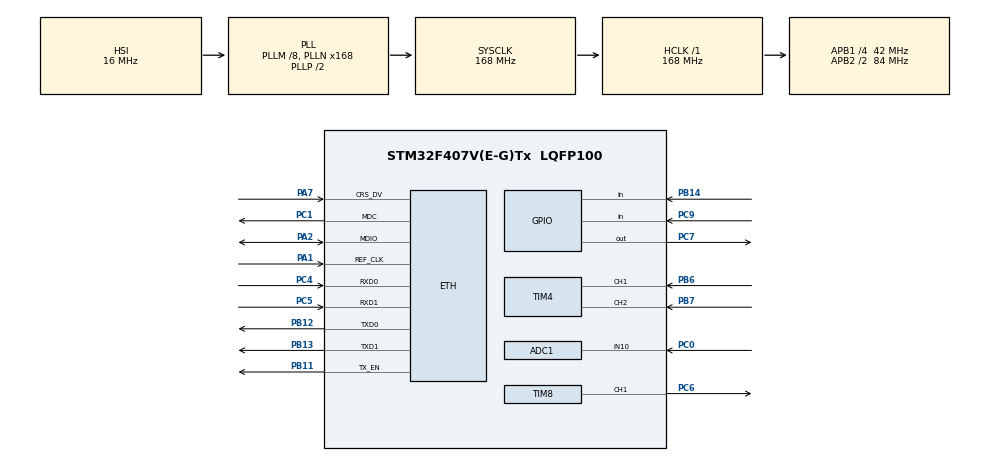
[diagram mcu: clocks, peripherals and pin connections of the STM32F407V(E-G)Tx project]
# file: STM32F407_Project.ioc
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ADC1.Channel-0\#ChannelRegularConversion=ADC_CHANNEL_10
ADC1.NbrOfConversionFlag=1
ADC1.Rank-0\#ChannelRegularConversion=1
ADC1.SamplingTime-0\#ChannelRegularConversion=ADC_SAMPLETIME_3CYCLES
ADC1.master=1
ETH.MediaInterface=HAL_ETH_RMII_MODE
LWIP.Version=v2.1.2_Cube
Mcu.Family=STM32F4
Mcu.Name=STM32F407V(E-G)Tx
Mcu.Package=LQFP100
NVIC.ETH_IRQn=true\:0\:0\:false\:false\:true\:true\:true\:true
NVIC.PriorityGroup=NVIC_PRIORITYGROUP_4
PA0-WKUP.Signal=S_TIM2_CH1_ETR
PA1.Mode=RMII
PA1.Signal=ETH_REF_CLK
PA13.Mode=Serial_Wire
PA13.Signal=SYS_JTMS-SWDIO
PA14.Mode=Serial_Wire
PA14.Signal=SYS_JTCK-SWCLK
PA2.Mode=RMII
PA2.Signal=ETH_MDIO
PA7.Mode=RMII
PA7.Signal=ETH_CRS_DV
PB11.Mode=RMII
PB11.Signal=ETH_TX_EN
PB12.Mode=RMII
PB12.Signal=ETH_TXD0
PB13.Mode=RMII
PB13.Signal=ETH_TXD1
PB14.Signal=GPIO_Input
PB3.Signal=SYS_JTDO-SWO
PB6.Signal=S_TIM4_CH1
PB7.Signal=S_TIM4_CH2
PB8.Signal=S_TIM4_CH3
PC0.Signal=ADCx_IN10
PC1.Mode=RMII
PC1.Signal=ETH_MDC
PC4.Mode=RMII
PC4.Signal=ETH_RXD0
PC5.Mode=RMII
PC5.Signal=ETH_RXD1
PC6.Signal=S_TIM8_CH1
PC7.Signal=GPIO_Output
PC9.Signal=GPIO_Input
PH0-OSC_IN.Mode=HSE-External-Oscillator
PH0-OSC_IN.Signal=RCC_OSC_IN
PH1-OSC_OUT.Mode=HSE-External-Oscillator
PH1-OSC_OUT.Signal=RCC_OSC_OUT
ProjectManager.HeapSize=0x200
ProjectManager.StackSize=0x400
ProjectManager.TargetToolchain=STM32CubeIDE
RCC.48MHZClocksFreq_Value=84000000
RCC.AHBFreq_Value=168000000
RCC.APB1CLKDivider=RCC_HCLK_DIV4
RCC.APB1Freq_Value=42000000
RCC.APB1TimFreq_Value=84000000
RCC.APB2CLKDivider=RCC_HCLK_DIV2
RCC.APB2Freq_Value=84000000
RCC.APB2TimFreq_Value=168000000
RCC.CortexFreq_Value=168000000
RCC.HCLKFreq_Value=168000000
RCC.HSE_VALUE=25000000
RCC.HSI_VALUE=16000000
RCC.LSE_VALUE=32768
RCC.PLLM=8
RCC.PLLN=168
RCC.SYSCLKFreq_VALUE=168000000
RCC.SYSCLKSource=RCC_SYSCLKSOURCE_PLLCLK
RCC.VCOOutputFreq_Value=336000000
SH.ADCx_IN10.0=ADC1_IN10,IN10
SH.S_TIM2_CH1_ETR.0=TIM2_CH1
SH.S_TIM4_CH1.0=TIM4_CH1,Encoder_Interface
SH.S_TIM4_CH2.0=TIM4_CH2,Encoder_Interface
SH.S_TIM4_CH3.0=TIM4_CH3
SH.S_TIM8_CH1.0=TIM8_CH1,PWM Generation1 CH1
TIM8.Channel-PWM\ Generation1\ CH1=TIM_CHANNEL_1
VP_LWIP_VS_Enabled.Mode=Enabled
board=custom

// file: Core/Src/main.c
/* USER CODE BEGIN Header */
/**
  ******************************************************************************
  * @file           : main.c
  * @brief          : Main program body
  ******************************************************************************
  * @attention
  *
  * Copyright (c) 2025 STMicroelectronics.
  * All rights reserved.
  *
  * This software is licensed under terms that can be found in the LICENSE file
  * in the root directory of this software component.
  * If no LICENSE file comes with this software, it is provided AS-IS.
  *
  ******************************************************************************
  */
/* USER CODE END Header */
#include "main.h"
#include "lwip.h"

/* USER CODE BEGIN Includes */

#include "lwip/tcp.h"
#include <stdio.h>  // sprintf 쓰기 위해 필요
#include <string.h> // strlen 쓰기 위해 필요

/* USER CODE END Includes */

ADC_HandleTypeDef hadc1;

TIM_HandleTypeDef htim4;
TIM_HandleTypeDef htim8;

/* USER CODE BEGIN PV */
// 모터 속도 (0 ~ 1000이라 가정)
int target_speed = 0;

// 엔코더 값 (위치)
uint32_t encoder_count = 0;

/* USER CODE END PV */

void SystemClock_Config(void);
static void MX_GPIO_Init(void);
static void MX_ADC1_Init(void);
static void MX_TIM4_Init(void);
static void MX_TIM8_Init(void);

/* USER CODE BEGIN 0 */
struct tcp_pcb *my_server_pcb; // 서버 컨트롤 블록

// [3] 데이터 받기 및 응답 콜백 함수 (업그레이드 버전)
err_t tcp_server_recv(void *arg, struct tcp_pcb *tpcb, struct pbuf *p, err_t err)
{
    if (p == NULL) // 연결 끊김
    {
        tcp_close(tpcb);
        return ERR_OK;
    }

    // 1. 데이터 수신 처리
    char *data = (char *)p->payload;

    // [명령어 처리 로직]
    if(data[0] == 'A')      // 'A': 속도 500
    {
        target_speed = 500;
    }
    else if(data[0] == 'B') // 'B': 정지
    {
        target_speed = 0;
    }
    else if(data[0] == 'Q') // 'Q': 상태 물어보기 (Query)
    {
        char send_buffer[50]; // 보낼 문자열 저장소

        // 현재 엔코더 값과 전류 값을 문자열로 변환 (예: "1200,350\n")
        // encoder_count: 현재 위치
        // HAL_ADC_GetValue(&hadc1): 현재 전류치(실시간 측정 필요하면 여기서 호출)
        sprintf(send_buffer, "%lu,%lu\n", encoder_count, HAL_ADC_GetValue(&hadc1));

        // PC로 데이터 전송 (Write)
        // tcp_write(연결객체, 데이터, 길이, 옵션)
        tcp_write(tpcb, send_buffer, strlen(send_buffer), TCP_WRITE_FLAG_COPY);

        // 즉시 전송 (Flush)
        tcp_output(tpcb);
    }

    // 2. 수신 확인 신호 (ACK)
    tcp_recved(tpcb, p->tot_len);

    // 3. 메모리 해제
    pbuf_free(p);

    return ERR_OK;
}

// [2] 접속 수락 콜백 함수 (PC가 접속을 시도하면 실행됨)
err_t tcp_server_accept(void *arg, struct tcp_pcb *newpcb, err_t err)
{
    // 데이터가 오면 'tcp_server_recv' 함수를 실행하도록 연결
    tcp_recv(newpcb, tcp_server_recv);
    return ERR_OK;
}

// [1] 서버 초기화 함수 (포트 5000번 열기)
void TCP_Server_Init(void)
{
    // 1. 새로운 TCP PCB 생성
    my_server_pcb = tcp_new();

    if (my_server_pcb != NULL)
    {
        // 2. 5000번 포트로 바인딩 (PC에서 접속할 포트 번호)
        err_t err = tcp_bind(my_server_pcb, IP_ADDR_ANY, 5000);

        if (err == ERR_OK)
        {
            // 3. 접속 대기 상태로 전환 (Listen)
            my_server_pcb = tcp_listen(my_server_pcb);

            // 4. 접속 요청이 오면 'tcp_server_accept' 실행
            tcp_accept(my_server_pcb, tcp_server_accept);
        }
    }
}
/* USER CODE END 0 */

int main(void)
{

  /* MCU Configuration--------------------------------------------------------*/

  /* Reset of all peripherals, Initializes the Flash interface and the Systick. */
  HAL_Init();

  /* Configure the system clock */
  SystemClock_Config();

  /* Initialize all configured peripherals */
  MX_GPIO_Init();
  MX_ADC1_Init();
  MX_TIM4_Init();
  MX_TIM8_Init();
  MX_LWIP_Init();
  /* USER CODE BEGIN 2 */

  // 1. 모터 PWM 타이머 시작 (TIM8 채널1)
  HAL_TIM_PWM_Start(&htim8, TIM_CHANNEL_1);

  // 2. 엔코더 타이머 시작 (TIM4)
  HAL_TIM_Encoder_Start(&htim4, TIM_CHANNEL_ALL);

  // 3. 모터 드라이버 활성화 (Enable 핀 켜기 - PC7 High)
  HAL_GPIO_WritePin(GPIOC, GPIO_PIN_7, GPIO_PIN_SET);

  TCP_Server_Init();
  /* USER CODE END 2 */

  /* Infinite loop */
  while (1)
  {

    /* USER CODE BEGIN 3 */
	  MX_LWIP_Process();

	        // [1] 엔코더 값 읽어오기 (현재 위치 확인용)
	        encoder_count = __HAL_TIM_GET_COUNTER(&htim4);

	        // [2] 테스트용: 속도 증가 시뮬레이션
	        target_speed++;
	        if(target_speed > 1000) target_speed = 0;

	        // [3] 모터 속도 적용 (PWM 듀티비 변경)
	        __HAL_TIM_SET_COMPARE(&htim8, TIM_CHANNEL_1, target_speed);

	        // [4] 루프 속도 조절 (5ms)
	        HAL_Delay(5);

	        // [5] 전류 센서 값 읽기 (ADC)
	        HAL_ADC_Start(&hadc1);
	        if (HAL_ADC_PollForConversion(&hadc1, 10) == HAL_OK)
	        {
	            uint32_t adc_value = HAL_ADC_GetValue(&hadc1);

	            // [6] 안전장치: 과전류 보호 (3000 넘으면 비상정지)
	            if(adc_value > 3000)
	            {
	                // 1. 하드웨어적으로 모터 끄기
	                __HAL_TIM_SET_COMPARE(&htim8, TIM_CHANNEL_1, 0);
	                HAL_GPIO_WritePin(GPIOC, GPIO_PIN_7, GPIO_PIN_RESET);

	                // 2. [중요] 소프트웨어 변수도 0으로 초기화 (안 그러면 다음 루프때 다시 켜짐!)
	                target_speed = 0;
	            }
	            else
	            {
	                // 정상일 때는 Enable 핀을 켜둠 (혹시 꺼졌을까봐)
	                HAL_GPIO_WritePin(GPIOC, GPIO_PIN_7, GPIO_PIN_SET);
	            }
	        }
  }

  /* USER CODE END 3 */
}

void SystemClock_Config(void)
{
  RCC_OscInitTypeDef RCC_OscInitStruct = {0};
  RCC_ClkInitTypeDef RCC_ClkInitStruct = {0};

  /** Configure the main internal regulator output voltage
  */
  __HAL_RCC_PWR_CLK_ENABLE();
  __HAL_PWR_VOLTAGESCALING_CONFIG(PWR_REGULATOR_VOLTAGE_SCALE1);

  /** Initializes the RCC Oscillators according to the specified parameters
  * in the RCC_OscInitTypeDef structure.
  */
  RCC_OscInitStruct.OscillatorType = RCC_OSCILLATORTYPE_HSI;
  RCC_OscInitStruct.HSIState = RCC_HSI_ON;
  RCC_OscInitStruct.HSICalibrationValue = RCC_HSICALIBRATION_DEFAULT;
  RCC_OscInitStruct.PLL.PLLState = RCC_PLL_ON;
  RCC_OscInitStruct.PLL.PLLSource = RCC_PLLSOURCE_HSI;
  RCC_OscInitStruct.PLL.PLLM = 8;
  RCC_OscInitStruct.PLL.PLLN = 168;
  RCC_OscInitStruct.PLL.PLLP = RCC_PLLP_DIV2;
  RCC_OscInitStruct.PLL.PLLQ = 4;
  if (HAL_RCC_OscConfig(&RCC_OscInitStruct) != HAL_OK)
  {
    Error_Handler();
  }

  /** Initializes the CPU, AHB and APB buses clocks
  */
  RCC_ClkInitStruct.ClockType = RCC_CLOCKTYPE_HCLK|RCC_CLOCKTYPE_SYSCLK
                              |RCC_CLOCKTYPE_PCLK1|RCC_CLOCKTYPE_PCLK2;
  RCC_ClkInitStruct.SYSCLKSource = RCC_SYSCLKSOURCE_PLLCLK;
  RCC_ClkInitStruct.AHBCLKDivider = RCC_SYSCLK_DIV1;
  RCC_ClkInitStruct.APB1CLKDivider = RCC_HCLK_DIV4;
  RCC_ClkInitStruct.APB2CLKDivider = RCC_HCLK_DIV2;

  if (HAL_RCC_ClockConfig(&RCC_ClkInitStruct, FLASH_LATENCY_5) != HAL_OK)
  {
    Error_Handler();
  }
}

static void MX_ADC1_Init(void)
{

  ADC_ChannelConfTypeDef sConfig = {0};

  /** Configure the global features of the ADC (Clock, Resolution, Data Alignment and number of conversion)
  */
  hadc1.Instance = ADC1;
  hadc1.Init.ClockPrescaler = ADC_CLOCK_SYNC_PCLK_DIV4;
  hadc1.Init.Resolution = ADC_RESOLUTION_12B;
  hadc1.Init.ScanConvMode = DISABLE;
  hadc1.Init.ContinuousConvMode = DISABLE;
  hadc1.Init.DiscontinuousConvMode = DISABLE;
  hadc1.Init.ExternalTrigConvEdge = ADC_EXTERNALTRIGCONVEDGE_NONE;
  hadc1.Init.ExternalTrigConv = ADC_SOFTWARE_START;
  hadc1.Init.DataAlign = ADC_DATAALIGN_RIGHT;
  hadc1.Init.NbrOfConversion = 1;
  hadc1.Init.DMAContinuousRequests = DISABLE;
  hadc1.Init.EOCSelection = ADC_EOC_SINGLE_CONV;
  if (HAL_ADC_Init(&hadc1) != HAL_OK)
  {
    Error_Handler();
  }

  /** Configure for the selected ADC regular channel its corresponding rank in the sequencer and its sample time.
  */
  sConfig.Channel = ADC_CHANNEL_10;
  sConfig.Rank = 1;
  sConfig.SamplingTime = ADC_SAMPLETIME_3CYCLES;
  if (HAL_ADC_ConfigChannel(&hadc1, &sConfig) != HAL_OK)
  {
    Error_Handler();
  }

}

static void MX_TIM4_Init(void)
{

  TIM_Encoder_InitTypeDef sConfig = {0};
  TIM_MasterConfigTypeDef sMasterConfig = {0};

  htim4.Instance = TIM4;
  htim4.Init.Prescaler = 0;
  htim4.Init.CounterMode = TIM_COUNTERMODE_UP;
  htim4.Init.Period = 65535;
  htim4.Init.ClockDivision = TIM_CLOCKDIVISION_DIV1;
  htim4.Init.AutoReloadPreload = TIM_AUTORELOAD_PRELOAD_DISABLE;
  sConfig.EncoderMode = TIM_ENCODERMODE_TI1;
  sConfig.IC1Polarity = TIM_ICPOLARITY_RISING;
  sConfig.IC1Selection = TIM_ICSELECTION_DIRECTTI;
  sConfig.IC1Prescaler = TIM_ICPSC_DIV1;
  sConfig.IC1Filter = 0;
  sConfig.IC2Polarity = TIM_ICPOLARITY_RISING;
  sConfig.IC2Selection = TIM_ICSELECTION_DIRECTTI;
  sConfig.IC2Prescaler = TIM_ICPSC_DIV1;
  sConfig.IC2Filter = 0;
  if (HAL_TIM_Encoder_Init(&htim4, &sConfig) != HAL_OK)
  {
    Error_Handler();
  }
  sMasterConfig.MasterOutputTrigger = TIM_TRGO_RESET;
  sMasterConfig.MasterSlaveMode = TIM_MASTERSLAVEMODE_DISABLE;
  if (HAL_TIMEx_MasterConfigSynchronization(&htim4, &sMasterConfig) != HAL_OK)
  {
    Error_Handler();
  }

}

static void MX_TIM8_Init(void)
{

  TIM_MasterConfigTypeDef sMasterConfig = {0};
  TIM_OC_InitTypeDef sConfigOC = {0};
  TIM_BreakDeadTimeConfigTypeDef sBreakDeadTimeConfig = {0};

  htim8.Instance = TIM8;
  htim8.Init.Prescaler = 0;
  htim8.Init.CounterMode = TIM_COUNTERMODE_UP;
  htim8.Init.Period = 65535;
  htim8.Init.ClockDivision = TIM_CLOCKDIVISION_DIV1;
  htim8.Init.RepetitionCounter = 0;
  htim8.Init.AutoReloadPreload = TIM_AUTORELOAD_PRELOAD_DISABLE;
  if (HAL_TIM_PWM_Init(&htim8) != HAL_OK)
  {
    Error_Handler();
  }
  sMasterConfig.MasterOutputTrigger = TIM_TRGO_RESET;
  sMasterConfig.MasterSlaveMode = TIM_MASTERSLAVEMODE_DISABLE;
  if (HAL_TIMEx_MasterConfigSynchronization(&htim8, &sMasterConfig) != HAL_OK)
  {
    Error_Handler();
  }
  sConfigOC.OCMode = TIM_OCMODE_PWM1;
  sConfigOC.Pulse = 0;
  sConfigOC.OCPolarity = TIM_OCPOLARITY_HIGH;
  sConfigOC.OCNPolarity = TIM_OCNPOLARITY_HIGH;
  sConfigOC.OCFastMode = TIM_OCFAST_DISABLE;
  sConfigOC.OCIdleState = TIM_OCIDLESTATE_RESET;
  sConfigOC.OCNIdleState = TIM_OCNIDLESTATE_RESET;
  if (HAL_TIM_PWM_ConfigChannel(&htim8, &sConfigOC, TIM_CHANNEL_1) != HAL_OK)
  {
    Error_Handler();
  }
  sBreakDeadTimeConfig.OffStateRunMode = TIM_OSSR_DISABLE;
  sBreakDeadTimeConfig.OffStateIDLEMode = TIM_OSSI_DISABLE;
  sBreakDeadTimeConfig.LockLevel = TIM_LOCKLEVEL_OFF;
  sBreakDeadTimeConfig.DeadTime = 0;
  sBreakDeadTimeConfig.BreakState = TIM_BREAK_DISABLE;
  sBreakDeadTimeConfig.BreakPolarity = TIM_BREAKPOLARITY_HIGH;
  sBreakDeadTimeConfig.AutomaticOutput = TIM_AUTOMATICOUTPUT_DISABLE;
  if (HAL_TIMEx_ConfigBreakDeadTime(&htim8, &sBreakDeadTimeConfig) != HAL_OK)
  {
    Error_Handler();
  }
  HAL_TIM_MspPostInit(&htim8);

}

static void MX_GPIO_Init(void)
{
  GPIO_InitTypeDef GPIO_InitStruct = {0};

  /* GPIO Ports Clock Enable */
  __HAL_RCC_GPIOH_CLK_ENABLE();
  __HAL_RCC_GPIOC_CLK_ENABLE();
  __HAL_RCC_GPIOA_CLK_ENABLE();
  __HAL_RCC_GPIOB_CLK_ENABLE();

  /*Configure GPIO pin Output Level */
  HAL_GPIO_WritePin(GPIOC, GPIO_PIN_7, GPIO_PIN_RESET);

  /*Configure GPIO pin : PA0 */
  GPIO_InitStruct.Pin = GPIO_PIN_0;
  GPIO_InitStruct.Mode = GPIO_MODE_AF_PP;
  GPIO_InitStruct.Pull = GPIO_NOPULL;
  GPIO_InitStruct.Speed = GPIO_SPEED_FREQ_LOW;
  GPIO_InitStruct.Alternate = GPIO_AF1_TIM2;
  HAL_GPIO_Init(GPIOA, &GPIO_InitStruct);

  /*Configure GPIO pin : PB14 */
  GPIO_InitStruct.Pin = GPIO_PIN_14;
  GPIO_InitStruct.Mode = GPIO_MODE_INPUT;
  GPIO_InitStruct.Pull = GPIO_NOPULL;
  HAL_GPIO_Init(GPIOB, &GPIO_InitStruct);

  /*Configure GPIO pin : PC7 */
  GPIO_InitStruct.Pin = GPIO_PIN_7;
  GPIO_InitStruct.Mode = GPIO_MODE_OUTPUT_PP;
  GPIO_InitStruct.Pull = GPIO_NOPULL;
  GPIO_InitStruct.Speed = GPIO_SPEED_FREQ_LOW;
  HAL_GPIO_Init(GPIOC, &GPIO_InitStruct);

  /*Configure GPIO pin : PC9 */
  GPIO_InitStruct.Pin = GPIO_PIN_9;
  GPIO_InitStruct.Mode = GPIO_MODE_INPUT;
  GPIO_InitStruct.Pull = GPIO_NOPULL;
  HAL_GPIO_Init(GPIOC, &GPIO_InitStruct);

}

void Error_Handler(void)
{
  __disable_irq();
  while (1)
  {
  }
}
